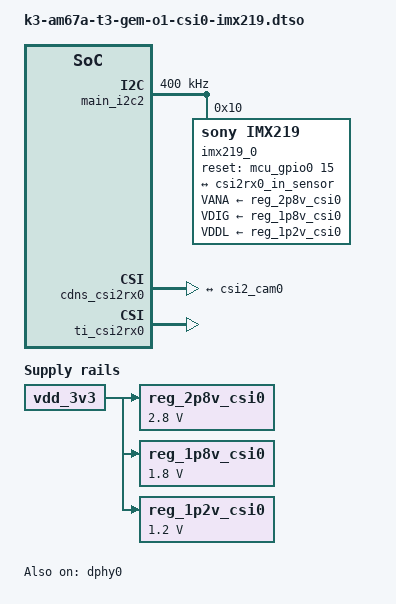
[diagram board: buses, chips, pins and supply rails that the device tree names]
// SPDX-License-Identifier: GPL-2.0-only OR MIT
/*
 * DT Overlay for RPi Camera V2.1 interfaced with CSI0.
 *
 * Schematics: https://datasheets.raspberrypi.com/camera/camera-v2-schematics.pdf
 *
 * Copyright (C) 2023 Texas Instruments Incorporated - https://www.ti.com/
 */

/dts-v1/;
/plugin/;

#include <dt-bindings/gpio/gpio.h>

&{/} {
	clk_csi0_imx219_fixed: csi0-imx219-xclk {
		compatible = "fixed-clock";
		#clock-cells = <0>;
		clock-frequency = <24000000>;
	};

	reg_2p8v_csi0: regulator-2p8v-csi0 {
		compatible = "regulator-fixed";
		regulator-name = "2P8V_CSI0";
		regulator-min-microvolt = <2800000>;
		regulator-max-microvolt = <2800000>;
		vin-supply = <&vdd_3v3>;
		regulator-always-on;
	};

	reg_1p8v_csi0: regulator-1p8v-csi0 {
		compatible = "regulator-fixed";
		regulator-name = "1P8V_CSI0";
		regulator-min-microvolt = <1800000>;
		regulator-max-microvolt = <1800000>;
		vin-supply = <&vdd_3v3>;
		regulator-always-on;
	};

	reg_1p2v_csi0: regulator-1p2v-csi0 {
		compatible = "regulator-fixed";
		regulator-name = "1P2V_CSI0";
		regulator-min-microvolt = <1200000>;
		regulator-max-microvolt = <1200000>;
		vin-supply = <&vdd_3v3>;
		regulator-always-on;
	};
};

&mcu_gpio0 {
	status = "okay";
};

&main_i2c2 {
	status = "okay";
	pinctrl-names = "default";
	pinctrl-0 = <&main_i2c2_pins_default>;
	clock-frequency = <400000>;

	#address-cells = <1>;
	#size-cells = <0>;

	imx219_0: sensor@10 {
		compatible = "sony,imx219";
		reg = <0x10>;

		clocks = <&clk_csi0_imx219_fixed>;

		VANA-supply = <&reg_2p8v_csi0>;
		VDIG-supply = <&reg_1p8v_csi0>;
		VDDL-supply = <&reg_1p2v_csi0>;

		pinctrl-names = "default";
		pinctrl-0 = <&csi0_gpio_pins_default>;

		reset-gpios = <&mcu_gpio0 15 GPIO_ACTIVE_HIGH>;

		port {
			csi2_cam0: endpoint {
				remote-endpoint = <&csi2rx0_in_sensor>;
				link-frequencies = /bits/ 64 <456000000>;
				clock-lanes = <0>;
				data-lanes = <1 2>;
			};
		};
	};
};

&cdns_csi2rx0 {
	ports {
		#address-cells = <1>;
		#size-cells = <0>;

		csi0_port0: port@0 {
			reg = <0>;
			status = "okay";

			csi2rx0_in_sensor: endpoint {
				remote-endpoint = <&csi2_cam0>;
				bus-type = <4>; /* CSI2 DPHY */
				clock-lanes = <0>;
				data-lanes = <1 2>;
			};
		};
	};
};

&ti_csi2rx0 {
	status = "okay";
};

&dphy0 {
	status = "okay";
};
